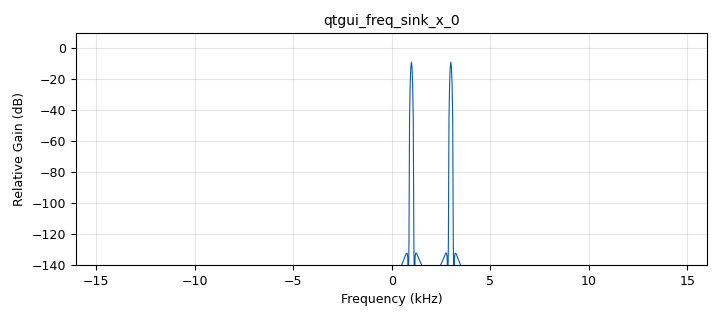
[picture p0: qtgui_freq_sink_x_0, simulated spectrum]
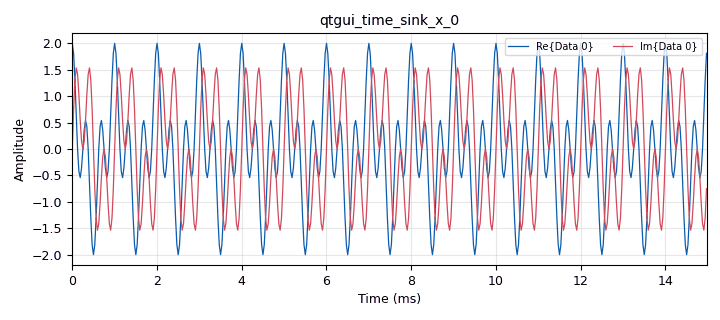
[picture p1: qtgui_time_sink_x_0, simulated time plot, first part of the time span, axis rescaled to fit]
options:
  parameters:
    generate_options: qt_gui
    id: testingcustomblocks
    output_language: python
    title: Not titled yet
  states: {}

blocks:
- name: samp_rate
  id: variable
  parameters:
    value: '32000'
  states: {}
- name: samp_rate_0
  id: variable
  parameters:
    value: '32000'
  states: {}
- name: analog_sig_source_x_0
  id: analog_sig_source_x
  parameters:
    amp: '1'
    freq: '1000'
    offset: '0'
    phase: '0'
    samp_rate: samp_rate
    type: complex
    waveform: analog.GR_COS_WAVE
  states: {}
- name: analog_sig_source_x_1
  id: analog_sig_source_x
  parameters:
    amp: '1'
    freq: '3000'
    offset: '0'
    phase: '0'
    samp_rate: samp_rate
    type: complex
    waveform: analog.GR_SIN_WAVE
  states: {}
- name: emu_vars
  id: epy_module
  parameters:
    source_code: "import numpy as np\n\n# posición Ti\nx_i = 3\ny_i = 0.5\nz_i = 4.5\n\n# posición Rj1    \nx_j = 3\ny_j = 1\nz_j = 1.8\n\n# posición del Rj2     \nx_j2 = 3\ny_j2 = 1.5\nz_j2 = 1.8\n\n# posición del Rj3    \nx_j3 = 4\ny_j3 = 2\nz_j3 = 1.8\n\n# posición del Rj4    \nx_j4 = 2.2\ny_j4 = 2.5\nz_j4 = 1.8\n\n# posición del Rj5    \nx_j5 = 1\ny_j5 = 2.5\nz_j5 = 1.6\n\n# posición del área reflectiva (pared) usar para puntos específicos de elementos reflectantes\n\n# first reflection_point \nx_w1 = 2\ny_w1 = 2\nz_w1 = 3\n\n# second reflection_point\nx_w2 = 1.5\ny_w2 = 2.3\nz_w2 = 4.0\n\n# third reflection_point\nx_w = 5\ny_w = 2.9\nz_w = 3.5\n\n# position of scattering particle\n# x_s = 4\n# y_s = 4.5\n# z_s = 2.5\n\n# parámetros de la simulación\n\nAw = 1                                        # área del elemento reflectante\npw = 0.6                                      # coeficiente de reflexión del área reflectiva\nang_rad = 60                                  # semi-ángulo de mitad de potencia del LED\nm = int(-np.log(2) / np.log(abs(np.cos(ang_rad * np.pi / 180))));   # número Lambertiano\nAp = 0.0001                                   # área física del receptor (1 cm^2)\neta = 1.5                                     # índice de refracción del PD\nfov = 70                                      # field of view\n\n# parámetros de los ángulos de inclinación y rotación\n\nbeta_i = 45                                   # ángulo de inclinación del LED con respecto al eje z\nalpha_i = 45                                  # ángulo de rotación del LED con respecto al eje x\n\nbeta_j = 45                                   # ángulo de inclinación del PD con respecto al eje z\nalpha_j = 45                                  # ángulo de rotación del PD con respecto al eje x\n\n# wall rotation angles para ángulo específico                   \nalpha_w = 20\nbeta_w = 70\n\ngv = [20, 60]                                 # distribución uniforme de probabilidad  \nfv = [0, 5]                                   # distribución uniforme de probabilidad   \nW = 6                                         # ancho del obstáculo\nH = 5                                         # altura del obstáculo\nX = 6                                         # Longitud de la mina\nY = 3                                         # altura de la mina\nes = 5                                        # epsilon \nt = 5 * 10**-9                                # valor del tiempo\ngymma = 0.017                                 # coeficiente de reflexión\ng = 0.72                                      # responsividad\nf = 0.5                                       # índice de refracción\nkr = [0.1, 0.01]                              # distribución uniforme de probabilidad\nkm = [0, 10]                                  # distribución uniforme de probabilidad\nks = np.add(kr, km)                           # distribución uniforme de probabilidad\nN = 70                                        # Número de scatterers\n# rn=sqrt((x_j-x_s)^2+(y_j-y_s)^2+(z_j-z_s)^2);\np = 0.1                                       # el parámetro se utiliza en el cálculo de Gn debajo de la ecuación 3.21 \n\nc = 3 * 10**8                                 # velocidad de la luz\n\nSampling_time = 0.25e-9                       # 0.25 nano segundos de muestreo, se disminuye para mayor número de muestras\ntime = np.arange(0, 35e-9, Sampling_time)    # vector de tiempo donde se observará el CIR\ntime = np.round(time, 12)                         # redondeo del tiempo \nt_rise = 0.5e-9                               # subida del tiempo de subida del PD\nt_fall = 1e-9                                 # tiempo de caída del PD\nh_led = 10 * (np.exp(-time / t_fall) - np.exp(-time / t_rise))  # respuesta al impulso del PD\n\n"
  states: {}
- name: epy_block_0
  id: epy_block
  parameters:
    _source_code: |
      """
      Embedded Python Blocks:

      Each time this file is saved, GRC will instantiate the first class it finds
      to get ports and parameters of your block. The arguments to __init__  will
      be the parameters. All of them are required to have default values!
      """

      import numpy as np
      from gnuradio import gr


      class blk(gr.sync_block):  # other base classes are basic_block, decim_block, interp_block
          """Embedded Python Block example - a simple multiply const"""

          def __init__(self, additionFlag=True):  # only default arguments here
              """arguments to this function show up as parameters in GRC"""
              gr.sync_block.__init__(
                  self,
                  name='Add or Multiply Block',   # will show up in GRC
                  in_sig=[np.complex64, np.complex64],
                  out_sig=[np.complex64]
              )
              # if an attribute with the same name as a parameter is found,
              # a callback is registered (properties work, too).
              self.additionFlag = additionFlag

          def work(self, input_items, output_items):
              """example: add or multiply based on flag"""
              if self.additionFlag:
                  output_items[0][:] = input_items[0][:] + input_items[1][:]
              else:
                  output_items[0][:] = input_items[0][:] * input_items[1][:]
              return len(output_items[0])
    additionFlag: 'True'
    alias: Add or Multiply
  states: {}
- name: funciones
  id: epy_module
  parameters:
    source_code: "# this module will be imported in the into your flowgraph\n\n\n\n# function to calculate the d(xv,yv)\ndef dv(x1, y1, x2, y2, fv):\n\n\n\treturn np.abs((y1 - y2) * fv[0] - (x1 - x2) * fv[1] - x2 * y1 + x1 * y2) / np.sqrt((y1 - y2) ** 2 + (x1 - x2) ** 2)\n\n\n# function to calculate the s(xv,yv)\ndef sv(x1, y1, z1, x2, y2, z2, fv):\n    if z1 <= z2:\n        s_v = (((y1 - y2) ** 2 + (x1 - x2) ** 2 + (fv[0] - x1) ** 2 + (fv[1] - y1) ** 2 -\n                ((fv[0] - x2) ** 2 + (fv[1] - y2) ** 2)) / (2 * np.sqrt((y1 - y2) ** 2 + (x1 - x2) ** 2))) + z1\n    else:\n        s_v = (((y1 - y2) ** 2 + (x2 - x1) ** 2 + (fv[0] - x2) ** 2 + (fv[1] - y2) ** 2 -\n                ((fv[0] - x1) ** 2 + (fv[1] - y1) ** 2)) / (2 * np.sqrt((y1 - y2) ** 2 + (x2 - x1) ** 2))) + z2\n    return s_v\n\n\n# %funcion para calcular vector y distancia entre dos puntos\ndef point_to_vector(x1, y1, z1, x2, y2, z2):\n    Vec = np.array([x2 - x1, y2 - y1, z2 - z1])\n    length = np.sqrt((x2 - x1) ** 2 + (y2 - y1) ** 2 + (z2 - z1) ** 2)\n    \n    return Vec, length\n\n\n# Calculo del vector normal para transmisores\ndef norm_vec_trans(alpha, beta):\n    n = np.array([np.cos(np.deg2rad(alpha)) * np.sin(np.deg2rad(beta)),\n                  np.sin(np.deg2rad(alpha)) * np.sin(np.deg2rad(beta)),\n                  -np.cos(np.deg2rad(beta))])\n    return n\n\n# funcion para calcular el producto punto\ndef dot_product(a, b):\n    f = np.dot(a, b)\n    return f\n\n# Calculo del vector normal para receptores\ndef norm_vec_receiver(alpha, beta):\n    m = np.array([np.cos(np.deg2rad(alpha)) * np.sin(np.deg2rad(beta)),\n                  np.sin(np.deg2rad(alpha)) * np.sin(np.deg2rad(beta)),\n                  np.cos(np.deg2rad(beta))])\n    return m\n\n# funcion para calcular la ganancia\ndef gain(eta, incide, incide_r, fov):\n    if 0 <= incide_r <= 2 * fov:\n        g = (eta ** 2) / (np.sin(np.deg2rad(incide)) ** 2)\n    else:\n        g = 0\n    return g\n\n# Function to calculate the  Pij for shadowing model\ndef P_expt(gv, fv, W, H, X, Y, t, es, d_v, s_v):\n    p = 0.1\n         \n    if (gv[0] >= 2 * d_v) and (gv[1] >= s_v):\n        w_int = gv[0] * W / 2\n        h_int = gv[1] * H / 2\n        A = [w_int, h_int]\n        x_int = fv[0] * X / 2\n        y_int = fv[1] * Y / 2\n        B = [x_int, y_int]\n        exp_value = np.dot(A, B)\n        f = p * t\n        est = -es * exp_value\n        d = np.exp(est)\n        Pij = d\n    else:\n        Pij = 0\n    \n    return Pij\n\n\n# funcion para calcular el HLoS\ndef HLoS_direct(x_i, y_i, z_i, x_j, y_j, z_j, Ap, eta, alpha_i, alpha_j, beta_i, beta_j, incidencia, incidencia_r, m, fov, gv, fv, W, H, X, Y, t, es, c):\n    dv_ij = dv(x_i, y_i, x_j, y_j, fv)\n    sv_ij = sv(x_i, y_i, z_i, x_j, y_j, z_j, fv)\n    Pij = P_expt(gv, fv, W, H, X, Y, t, es, dv_ij, sv_ij)\n    v1, d1 = point_to_vector(x_i, y_i, z_i, x_j, y_j, z_j)\n    Nnorm1 = norm_vec_trans(alpha_i, beta_i)\n    p1 = dot_product(v1, Nnorm1)\n    v2, d2 = point_to_vector(x_j, y_j, z_j, x_i, y_i, z_i)\n    Nnorm2 = norm_vec_receiver(alpha_j, beta_j)\n    p2 = dot_product(v2, Nnorm2)\n    g = gain(eta, incidencia, incidencia_r, fov)\n    dm = d1 / c\n\n    if 0 <= incidencia <= 2 * fov:\n        m_HLoS = abs(((m + 1) * Ap / (2 * np.pi * d1 ** 2)) * (p1 ** m / d1) * (p2 / d2) * g * Pij)\n    else:\n        m_HLoS = 0\n\n    return m_HLoS, dm\n\n"
  states: {}
- name: import_0
  id: import
  parameters:
    imports: import numpy as np
  states: {}
- name: import_0_0
  id: import
  parameters:
    imports: from cmath import exp, pi; from random import randint; import numpy as np; import random;
  states: {}
- name: import_1
  id: import
  parameters:
    imports: import sympy
  states: {}
- name: note_0
  id: note
  parameters:
    note: PYTHON MODULES
  states: {}
- name: note_1
  id: note
  parameters:
    note: PYTHON IMPORTS
  states: {}
- name: note_2
  id: note
  parameters:
    note: GNU VARIABLES
  states: {}
- name: qtgui_freq_sink_x_0
  id: qtgui_freq_sink_x
  parameters:
    bw: samp_rate
    fc: '0'
    fftsize: '1024'
    type: complex
    wintype: firdes.WIN_BLACKMAN_hARRIS
  states: {}
- name: qtgui_time_sink_x_0
  id: qtgui_time_sink_x
  parameters:
    size: '1024'
    srate: samp_rate
    type: complex
  states: {}

connections:
- [analog_sig_source_x_0, '0', epy_block_0, '0']
- [analog_sig_source_x_1, '0', epy_block_0, '1']
- [epy_block_0, '0', qtgui_freq_sink_x_0, '0']
- [epy_block_0, '0', qtgui_time_sink_x_0, '0']

metadata:
  file_format: 1
